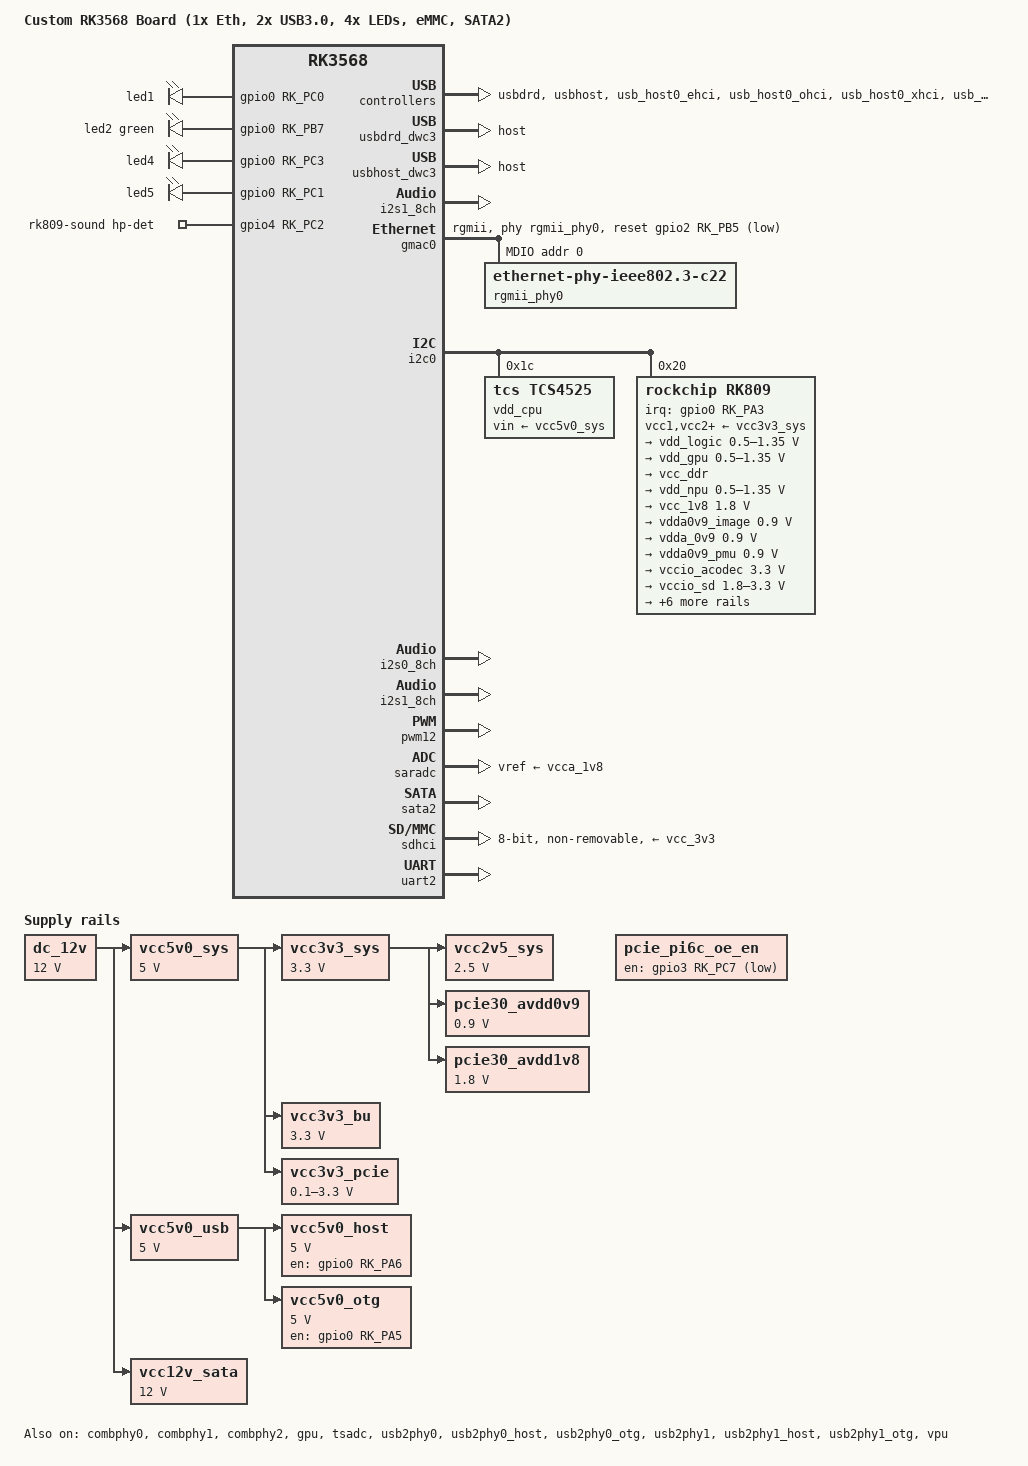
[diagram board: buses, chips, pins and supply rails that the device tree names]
// SPDX-License-Identifier: (GPL-2.0+ OR MIT)
/*
 * Custom RK3568 Board
 * 1x Ethernet (GMAC0 RGMII), 2x USB3.0, 4x LEDs, eMMC, SATA2
 * Features:
 *  - led0(red):Power on constant, turn off after system boot
 *  - led2(green):Start heartbeat blinking after system boot
 *  - Reserve OTG function for flashing
 */

/dts-v1/;

#include <dt-bindings/clock/rk3568-cru.h>
#include <dt-bindings/gpio/gpio.h>
#include <dt-bindings/input/input.h>
#include <dt-bindings/interrupt-controller/arm-gic.h>
#include <dt-bindings/leds/common.h>
#include <dt-bindings/pinctrl/rockchip.h>
#include <dt-bindings/soc/rockchip,vop2.h>

#include "rk3568.dtsi"

/ {
    model = "Custom RK3568 Board (1x Eth, 2x USB3.0, 4x LEDs, eMMC, SATA2)";
    compatible = "rpdzkj,rp-rk3568", "rockchip,rk3568";
    bootargs = "earlycon=uart8250,mmio32,0xfe660000 console=ttyS2,1500000n8";

    aliases {
        ethernet0 = &gmac0;
		mmc0 = &sdhci;
        mmc1 = &sdmmc0;
    };

    chosen: chosen {
        stdout-path = "serial2:1500000n8";
    };

    dc_12v: dc-12v {
        compatible = "regulator-fixed";
        regulator-name = "dc_12v";
        regulator-always-on;
        regulator-boot-on;
        regulator-min-microvolt = <12000000>;
        regulator-max-microvolt = <12000000>;
    };

    vcc3v3_sys: vcc3v3-sys {
        compatible = "regulator-fixed";
        regulator-name = "vcc3v3_sys";
        regulator-always-on;
        regulator-boot-on;
        regulator-min-microvolt = <3300000>;
        regulator-max-microvolt = <3300000>;
        vin-supply = <&vcc5v0_sys>;
    };

    vcc5v0_sys: vcc5v0-sys {
        compatible = "regulator-fixed";
        regulator-name = "vcc5v0_sys";
        regulator-always-on;
        regulator-boot-on;
        regulator-min-microvolt = <5000000>;
        regulator-max-microvolt = <5000000>;
        vin-supply = <&dc_12v>;
    };

    vcc5v0_usb: vcc5v0-usb {
        compatible = "regulator-fixed";
        regulator-name = "vcc5v0_usb";
        regulator-always-on;
        regulator-boot-on;
        regulator-min-microvolt = <5000000>;
        regulator-max-microvolt = <5000000>;
        vin-supply = <&dc_12v>;
    };

    vcc5v0_host: vcc5v0-host {
        compatible = "regulator-fixed";
        regulator-name = "vcc5v0_host";
        regulator-boot-on;
        regulator-always-on;
        regulator-min-microvolt = <5000000>;
        regulator-max-microvolt = <5000000>;
        enable-active-high;
        gpio = <&gpio0 RK_PA6 GPIO_ACTIVE_HIGH>;
        vin-supply = <&vcc5v0_usb>;
        pinctrl-names = "default";
        pinctrl-0 = <&vcc5v0_host_en>;
    };

    vcc5v0_otg: vcc5v0-otg {
        compatible = "regulator-fixed";
        regulator-name = "vcc5v0_otg";
        regulator-min-microvolt = <5000000>;
        regulator-max-microvolt = <5000000>;
        enable-active-high;
        gpio = <&gpio0 RK_PA5 GPIO_ACTIVE_HIGH>;
        vin-supply = <&vcc5v0_usb>;
        pinctrl-names = "default";
        pinctrl-0 = <&vcc5v0_otg_en>;
    };

    vcc12v_sata: vcc12v-sata {
        compatible = "regulator-fixed";
        regulator-name = "vcc12v_sata";
        regulator-always-on;
        regulator-boot-on;
        regulator-min-microvolt = <12000000>;
        regulator-max-microvolt = <12000000>;
        vin-supply = <&dc_12v>;
    };

    /* ---- Additional Power Configs (from dump) ---- */
    vcc2v5_sys: vcc2v5-ddr {
        compatible = "regulator-fixed";
        regulator-name = "vcc2v5-sys";
        regulator-always-on;
        regulator-boot-on;
        regulator-min-microvolt = <2500000>;
        regulator-max-microvolt = <2500000>;
        vin-supply = <&vcc3v3_sys>;
    };

    pcie30_avdd0v9: pcie30-avdd0v9 {
        compatible = "regulator-fixed";
        regulator-name = "pcie30_avdd0v9";
        regulator-always-on;
        regulator-boot-on;
        regulator-min-microvolt = <900000>;
        regulator-max-microvolt = <900000>;
        vin-supply = <&vcc3v3_sys>;
    };

    pcie30_avdd1v8: pcie30-avdd1v8 {
        compatible = "regulator-fixed";
        regulator-name = "pcie30_avdd1v8";
        regulator-always-on;
        regulator-boot-on;
        regulator-min-microvolt = <1800000>;
        regulator-max-microvolt = <1800000>;
        vin-supply = <&vcc3v3_sys>;
    };

    vcc3v3_bu: vcc3v3-bu {
        compatible = "regulator-fixed";
        regulator-name = "vcc3v3_bu";
        regulator-always-on;
        regulator-boot-on;
        regulator-min-microvolt = <3300000>;
        regulator-max-microvolt = <3300000>;
        vin-supply = <&vcc5v0_sys>;
    };

    vcc3v3_pcie: gpio-regulator {
        compatible = "regulator-gpio";
        regulator-name = "vcc3v3_pcie";
        regulator-min-microvolt = <100000>;
        regulator-max-microvolt = <3300000>;
        gpios = <&gpio0 RK_PC4 GPIO_ACTIVE_HIGH>;
        gpios-states = <1>;
        states = <100000 0 3300000 1>;
        vin-supply = <&vcc5v0_sys>;
    };

    pcie_pi6c_oe_en: pcie-pi6c-oe-regulator {
        compatible = "regulator-fixed";
        gpio = <&gpio3 RK_PC7 GPIO_ACTIVE_HIGH>;
        pinctrl-names = "default";
        pinctrl-0 = <&pcie_pi6c_oe_en_pin>;
        regulator-name = "pcie_pi6c_oe_en";
        regulator-always-on;
    };



    /* ---- LEDs Config ---- */
    leds {
        status = "okay";
        compatible = "gpio-leds";

        led1 {
            gpios = <&gpio0 RK_PC0 GPIO_ACTIVE_HIGH>;
            default-state = "on";
            pinctrl-names = "default";
            pinctrl-0 = <&led1_pin>;
        };

        led2 {
            function = LED_FUNCTION_HEARTBEAT;
            color = <LED_COLOR_ID_GREEN>;
            linux,default-trigger = "heartbeat";  // Activate after system boot
            gpios = <&gpio0 RK_PB7 GPIO_ACTIVE_HIGH>;
            default-state = "off";
            pinctrl-names = "default";
            pinctrl-0 = <&led2_pin>;
        };

        led4 {
            gpios = <&gpio0 RK_PC3 GPIO_ACTIVE_HIGH>;
            default-state = "off";
            pinctrl-names = "default";
            pinctrl-0 = <&led4_pin>;
        };

        led5 {
            gpios = <&gpio0 RK_PC1 GPIO_ACTIVE_HIGH>;
            default-state = "off";
            pinctrl-names = "default";
            pinctrl-0 = <&led5_pin>;
        };
    };

    rk809-sound {
        compatible = "simple-audio-card";
        status = "okay";
        simple-audio-card,format = "i2s";
        simple-audio-card,name = "rockchip,rk809-codec";
        simple-audio-card,mclk-fs = <256>;
        simple-audio-card,hp-det-gpio = <&gpio4 RK_PC2 GPIO_ACTIVE_HIGH>;
        simple-audio-card,widgets = "Headphones", "Headphones Jack";

        simple-audio-card,cpu {
            sound-dai = <&i2s1_8ch>;
        };
        simple-audio-card,codec {
            sound-dai = <&rk809_codec>;
        };
    };

    /* ---- DWC3 Config ---- */
    usbdrd {
        status = "okay";
    };

    usbdrd_dwc3 {
        dr_mode = "host";
        status = "okay";
    };

    usbhost {
        status = "okay";
    };

    usbhost_dwc3 {
        dr_mode = "host";
        status = "okay";
    };

    /* ---- Debug and System Config ---- */
    fiq_debugger {
        compatible = "rockchip,fiq-debugger";
        rockchip,serial-id = <2>;
        rockchip,wake-irq = <0>;
        rockchip,irq-mode-enable = <1>;
        rockchip,baudrate = <115200>;
        interrupts = <0 252 8>;
        pinctrl-names = "default";
        pinctrl-0 = <&uart2m0_xfer>;
        status = "okay";
    };

    debug {
        compatible = "rockchip,debug";
        reg = <0x0 0xfd904000 0x0 0x1000>,
              <0x0 0xfd905000 0x0 0x1000>,
              <0x0 0xfd906000 0x0 0x1000>,
              <0x0 0xfd907000 0x0 0x1000>;
    };

    cspmu {
        compatible = "rockchip,cspmu";
        reg = <0x0 0xfd90c000 0x0 0x1000>,
              <0x0 0xfd90d000 0x0 0x1000>,
              <0x0 0xfd90e000 0x0 0x1000>,
              <0x0 0xfd90f000 0x0 0x1000>;
    };

    /* ---- Audio Config ---- */
    i2s1_8ch {
        pinctrl-names = "default";
        pinctrl-0 = <&i2s1m0_sclktx
                     &i2s1m0_lrcktx
                     &i2s1m0_sdi0
                     &i2s1m0_sdo0>;
        rockchip,trcm-sync-tx-only;
        status = "okay";
    };

    /* ---- Backlight Config ---- */
    backlight {
        pwms = <&pwm12 0 25000 0>;
        status = "okay";
    };

    /* ---- Special Configs ---- */
    test_power {
        status = "okay";
    };

    rp_power {
        compatible = "rp_power";
        rp_not_deep_sleep = <1>;
        status = "okay";
    };

    rp_gpio {
        status = "okay";
        compatible = "rp_gpio";

        otg_mode {
            gpio_num = <&gpio3 RK_PC1 GPIO_ACTIVE_HIGH>;
            gpio_function = <4>;
        };

        usb_pwr {
            gpio_num = <&gpio0 RK_PA6 GPIO_ACTIVE_HIGH>;
            gpio_function = <4>;
        };
    };
};

/* ---- Combo PHY Config ---- */
&combphy0 { status = "okay"; };
&combphy1 { status = "okay"; };
&combphy2 { status = "okay"; };

&cpu0 {
    cpu-supply = <&vdd_cpu>;
};

/* ---- GMAC0 Config ---- */
&gmac0 {
    rockchip,grf = <&grf>;
    status = "okay";
    phy-mode = "rgmii";
    clock_in_out = "output";
    
    /* Clock configuration */
    clocks = <&cru SCLK_GMAC0>, <&cru SCLK_GMAC0_RX_TX>, <&cru SCLK_GMAC0_RX_TX>,
             <&cru CLK_MAC0_REFOUT>, <&cru ACLK_GMAC0>, <&cru PCLK_GMAC0>,
             <&cru SCLK_GMAC0_RX_TX>, <&cru CLK_GMAC0_PTP_REF>, <&cru PCLK_GMAC0>;
    clock-names = "stmmaceth", "mac_clk_rx", "mac_clk_tx", "clk_mac_refout", 
                  "aclk_mac", "pclk_mac", "clk_mac_speed", "ptp_ref", "pclk_xpcs";
    
    /* Reset configuration */
    resets = <&cru SRST_A_GMAC0>;
    reset-names = "stmmaceth";
    
    /* Assigned clocks */
    assigned-clocks = <&cru SCLK_GMAC0_RX_TX>, <&cru SCLK_GMAC0>;
    assigned-clock-parents = <&cru SCLK_GMAC0_RGMII_SPEED>, <&cru CLK_MAC0_2TOP>;
    assigned-clock-rates = <0>, <125000000>;
    
    /* RGMII timing delays */
    tx_delay = <0x43>;
    rx_delay = <0x33>;
    
    /* SNPS specific configuration */
    snps,mixed-burst;
    snps,tso;
    snps,reset-gpio = <&gpio2 RK_PB5 GPIO_ACTIVE_LOW>;
    snps,reset-active-low;
    snps,reset-delays-us = <0 20000 100000>;
    snps,axi-config = <&gmac0_stmmac_axi_config>;
    snps,mtl-rx-config = <&gmac0_rx_queues_config>;
    snps,mtl-tx-config = <&gmac0_tx_queues_config>;
    
    /* Pinctrl configuration */
    pinctrl-names = "default";
    pinctrl-0 = <&gmac0_miim>, <&gmac0_tx_bus2>, <&gmac0_rx_bus2>,
                <&gmac0_rgmii_clk>, <&gmac0_rgmii_bus>;
    
    /* PHY handle */
    phy-handle = <&rgmii_phy0>;

    mdio {
        compatible = "snps,dwmac-mdio";
        #address-cells = <1>;
        #size-cells = <0>;

        rgmii_phy0: phy@0 {
            compatible = "ethernet-phy-ieee802.3-c22";
            reg = <0x0>;
            clocks = <&cru CLK_MAC0_OUT>;
        };
    };

    gmac0_stmmac_axi_config: stmmac-axi-config {
        snps,wr_osr_lmt = <4>;
        snps,rd_osr_lmt = <8>;
        snps,blen = <0 0 0 0 16 8 4>;
    };

    gmac0_rx_queues_config: rx-queues-config {
        snps,rx-queues-to-use = <1>;
        queue0 { };
    };

    gmac0_tx_queues_config: tx-queues-config {
        snps,tx-queues-to-use = <1>;
        queue0 { };
    };
};

&gmac1 { status = "disabled"; };

/* ---- GPU Config ---- */
&gpu {
    mali-supply = <&vdd_gpu>;
    status = "okay";
};

/* ---- I2C0 Config ---- */
&i2c0 {
    status = "okay";
    pinctrl-names = "default";
    pinctrl-0 = <&i2c0_xfer>;



    /* CPU core regulator */
    vdd_cpu: regulator@1c {
        compatible = "tcs,tcs4525";
        reg = <0x1c>;
        fcs,suspend-voltage-selector = <1>;
        regulator-name = "vdd_cpu";
        regulator-always-on;
        regulator-boot-on;
        regulator-min-microvolt = <800000>;
        regulator-max-microvolt = <1150000>;
        regulator-ramp-delay = <2300>;
        vin-supply = <&vcc5v0_sys>;

        regulator-state-mem {
            regulator-off-in-suspend;
        };
    };

    rk809: pmic@20 {
        compatible = "rockchip,rk809";
        reg = <0x20>;
        interrupt-parent = <&gpio0>;
        interrupts = <RK_PA3 IRQ_TYPE_LEVEL_LOW>;
        pinctrl-names = "default", "pmic-sleep", "pmic-power-off", "pmic-reset";
        pinctrl-0 = <&pmic_int_l>;
        pinctrl-1 = <&rk817_slppin_slp>;
        pinctrl-2 = <&rk817_slppin_pwrdn>;
        pinctrl-3 = <&rk817_slppin_rst>;
        rockchip,system-power-controller;
        wakeup-source;
        #clock-cells = <1>;
        clock-output-names = "rk808-clkout1", "rk808-clkout2";
        pmic-reset-func = <0>;
        not-save-power-en = <1>;
        vcc1-supply = <&vcc3v3_sys>;
        vcc2-supply = <&vcc3v3_sys>;
        vcc3-supply = <&vcc3v3_sys>;
        vcc4-supply = <&vcc3v3_sys>;
        vcc5-supply = <&vcc3v3_sys>;
        vcc6-supply = <&vcc3v3_sys>;
        vcc7-supply = <&vcc3v3_sys>;
        vcc8-supply = <&vcc3v3_sys>;
        vcc9-supply = <&vcc3v3_sys>;

        pwrkey {
            status = "okay";
        };

        pinctrl_rk8xx {
            gpio-controller;
            #gpio-cells = <2>;

            rk817_slppin_null: rk817_slppin_null {
                pins = "gpio_slp";
                function = "pin_fun0";
            };

            rk817_slppin_slp: rk817_slppin_slp {
                pins = "gpio_slp";
                function = "pin_fun1";
            };

            rk817_slppin_pwrdn: rk817_slppin_pwrdn {
                pins = "gpio_slp";
                function = "pin_fun2";
            };

            rk817_slppin_rst: rk817_slppin_rst {
                pins = "gpio_slp";
                function = "pin_fun3";
            };
        };

        regulators {
            vdd_logic: DCDC_REG1 {
                regulator-name = "vdd_logic";
                regulator-always-on;
                regulator-boot-on;
                regulator-min-microvolt = <500000>;
                regulator-max-microvolt = <1350000>;
                regulator-init-microvolt = <900000>;
                regulator-ramp-delay = <6001>;
                regulator-initial-mode = <2>;
                regulator-state-mem {
                    regulator-off-in-suspend;
                };
            };

            vdd_gpu: DCDC_REG2 {
                regulator-name = "vdd_gpu";
                regulator-always-on;
                regulator-boot-on;
                regulator-min-microvolt = <500000>;
                regulator-max-microvolt = <1350000>;
                regulator-init-microvolt = <900000>;
                regulator-ramp-delay = <6001>;
                regulator-initial-mode = <2>;
                regulator-state-mem {
                    regulator-off-in-suspend;
                };
            };

            vcc_ddr: DCDC_REG3 {
                regulator-name = "vcc_ddr";
                regulator-always-on;
                regulator-boot-on;
                regulator-initial-mode = <2>;
                regulator-state-mem {
                    regulator-on-in-suspend;
                };
            };

            vdd_npu: DCDC_REG4 {
                regulator-name = "vdd_npu";
                regulator-always-on;
                regulator-boot-on;
                regulator-min-microvolt = <500000>;
                regulator-max-microvolt = <1350000>;
                regulator-init-microvolt = <900000>;
                regulator-ramp-delay = <6001>;
                regulator-initial-mode = <2>;
                regulator-state-mem {
                    regulator-off-in-suspend;
                };
            };
            
            vcc_1v8: DCDC_REG5 {
                regulator-name = "vcc_1v8";
                regulator-always-on;
                regulator-boot-on;
                regulator-min-microvolt = <1800000>;
                regulator-max-microvolt = <1800000>;
                regulator-state-mem {
                    regulator-off-in-suspend;
                };
            };

            vdda0v9_image: LDO_REG1 {
                regulator-name = "vdda0v9_image";
                regulator-always-on;
                regulator-boot-on;
                regulator-min-microvolt = <900000>;
                regulator-max-microvolt = <900000>;
                regulator-state-mem {
                    regulator-off-in-suspend;
                };
            };

            vdda_0v9: LDO_REG2 {
                regulator-name = "vdda_0v9";
                regulator-always-on;
                regulator-boot-on;
                regulator-min-microvolt = <900000>;
                regulator-max-microvolt = <900000>;
                regulator-state-mem {
                    regulator-off-in-suspend;
                };
            };

            vdda0v9_pmu: LDO_REG3 {
                regulator-name = "vdda0v9_pmu";
                regulator-always-on;
                regulator-boot-on;
                regulator-min-microvolt = <900000>;
                regulator-max-microvolt = <900000>;
                regulator-state-mem {
                    regulator-on-in-suspend;
                    regulator-suspend-microvolt = <900000>;
                };
            };

            vccio_acodec: LDO_REG4 {
                regulator-name = "vccio_acodec";
                regulator-always-on;
                regulator-boot-on;
                regulator-min-microvolt = <3300000>;
                regulator-max-microvolt = <3300000>;
                regulator-state-mem {
                    regulator-off-in-suspend;
                };
            };

            vccio_sd: LDO_REG5 {
                regulator-name = "vccio_sd";
                regulator-always-on;
                regulator-boot-on;
                regulator-min-microvolt = <1800000>;
                regulator-max-microvolt = <3300000>;
                regulator-state-mem {
                    regulator-off-in-suspend;
                };
            };

            vcc3v3_pmu: LDO_REG6 {
                regulator-name = "vcc3v3_pmu";
                regulator-always-on;
                regulator-boot-on;
                regulator-min-microvolt = <3300000>;
                regulator-max-microvolt = <3300000>;
                regulator-state-mem {
                    regulator-on-in-suspend;
                    regulator-suspend-microvolt = <3300000>;
                };
            };

            vcca_1v8: LDO_REG7 {
                regulator-name = "vcca_1v8";
                regulator-always-on;
                regulator-boot-on;
                regulator-min-microvolt = <1800000>;
                regulator-max-microvolt = <1800000>;
                regulator-state-mem {
                    regulator-off-in-suspend;
                };
            };

            vcca1v8_pmu: LDO_REG8 {
                regulator-name = "vcca1v8_pmu";
                regulator-always-on;
                regulator-boot-on;
                regulator-min-microvolt = <1800000>;
                regulator-max-microvolt = <1800000>;
                regulator-state-mem {
                    regulator-on-in-suspend;
                    regulator-suspend-microvolt = <1800000>;
                };
            };

            vcca1v8_image: LDO_REG9 {
                regulator-name = "vcca1v8_image";
                regulator-always-on;
                regulator-boot-on;
                regulator-min-microvolt = <1800000>;
                regulator-max-microvolt = <1800000>;
                regulator-state-mem {
                    regulator-off-in-suspend;
                };
            };
            
            vcc_3v3: SWITCH_REG1 {
                regulator-name = "vcc_3v3";
                regulator-always-on;
                regulator-boot-on;
                regulator-state-mem {
                    regulator-off-in-suspend;
                };
            };

            vcc3v3_sd: SWITCH_REG2 {
                regulator-name = "vcc3v3_sd";
                regulator-always-on;
                regulator-boot-on;
                regulator-state-mem {
                    regulator-off-in-suspend;
                };
            };
        };

        rk809_codec: codec {
            #sound-dai-cells = <0>;
            compatible = "rockchip,rk809-codec", "rockchip,rk817-codec";
            clocks = <&cru I2S1_MCLKOUT_TX>;
            clock-names = "mclk";
            assigned-clocks = <&cru I2S1_MCLKOUT_TX>;
            assigned-clock-parents = <&cru CLK_I2S1_8CH_TX>;
            pinctrl-names = "default";
            pinctrl-0 = <&i2s1m0_mclk>;
            hp-volume = <20>;
            spk-volume = <3>;
            mic-in-differential;
            status = "disabled";
        };


    };
};

&i2c1 { status = "disabled"; };

&i2s0_8ch {
    status = "okay";
};

&i2s1_8ch {
    pinctrl-names = "default";
    pinctrl-0 = <&i2s1m0_sclktx
                 &i2s1m0_lrcktx
                 &i2s1m0_sdi0
                 &i2s1m0_sdo0>;
    rockchip,trcm-sync-tx-only;
    status = "okay";
};

&mdio0 { status = "disabled"; };
&mdio1 { status = "disabled"; };

/* ----  Config ---- */
&pinctrl {
    leds {
        led1_pin: led1_pin {
            rockchip,pins = <0 RK_PC0 RK_FUNC_GPIO &pcfg_pull_none>;
        };
        led2_pin: led2_pin {
            rockchip,pins = <0 RK_PB7 RK_FUNC_GPIO &pcfg_pull_none>;
        };
        led4_pin: led4_pin {
            rockchip,pins = <0 RK_PC3 RK_FUNC_GPIO &pcfg_pull_none>;
        };
        led5_pin: led5_pin {
            rockchip,pins = <0 RK_PC1 RK_FUNC_GPIO &pcfg_pull_none>;
        };
    };

    pmic {
        pmic_int_l: pmic-int-l {
            rockchip,pins = <0 RK_PA3 RK_FUNC_GPIO &pcfg_pull_up>;
        };
    };



    usb {
        vcc5v0_host_en: vcc5v0-host-en {
            rockchip,pins = <0 RK_PA6 RK_FUNC_GPIO &pcfg_pull_none>;
        };
        vcc5v0_otg_en: vcc5v0-otg-en {
            rockchip,pins = <0 RK_PA5 RK_FUNC_GPIO &pcfg_pull_none>;
        };
    };

    pcie {
        pcie_pi6c_oe_en_pin: pcie-pi6c-oe-en {
            rockchip,pins = <3 RK_PC7 RK_FUNC_GPIO &pcfg_pull_none>;
        };
    };
};

&pmu_io_domains {
    pmuio1-supply = <&vcc3v3_pmu>;
    pmuio2-supply = <&vcc3v3_pmu>;
    vccio1-supply = <&vccio_acodec>;
    vccio2-supply = <&vcc_1v8>;
    vccio3-supply = <&vccio_sd>;
    vccio4-supply = <&vcc_1v8>;
    vccio5-supply = <&vcc_3v3>;
    vccio6-supply = <&vcc_1v8>;
    vccio7-supply = <&vcc_3v3>;
    status = "okay";
};

&pwm12 {
    pinctrl-0 = <&pwm12m1_pins>;
    pinctrl-names = "default";
    status = "okay";
};

&saradc {
    vref-supply = <&vcca_1v8>;
    status = "okay";
};

/* ---- SATA2 Config ---- */
&sata2 {
    vcc12v-supply = <&vcc12v_sata>;
    status = "okay";
};

&sdhci {
    status = "okay";
    bus-width = <8>;
    max-frequency = <200000000>;
    non-removable;
    supports-emmc;
    mmc-hs200-1_8v;
    vmmc-supply = <&vcc_3v3>;
    vqmmc-supply = <&vcc_1v8>;
    pinctrl-names = "default";
    pinctrl-0 = <&emmc_bus8 &emmc_clk &emmc_cmd &emmc_datastrobe>;
};

&sdmmc0 { status = "disabled"; };

&tsadc {
    rockchip,hw-tshut-mode = <1>;
    rockchip,hw-tshut-polarity = <0>;
    status = "okay";
};

&uart2 {
    status = "okay";
};

/* ---- USB Config ---- */
&usb_host0_ehci { status = "okay"; };
&usb_host0_ohci { status = "okay"; };
&usb_host0_xhci { status = "okay"; };
&usb_host1_ehci { status = "okay"; };
&usb_host1_ohci { status = "okay"; };
&usb_host1_xhci { status = "okay"; };

&usb2phy0 { status = "okay"; };
&usb2phy0_host { phy-supply = <&vcc5v0_host>; status = "okay"; };
&usb2phy0_otg  { phy-supply = <&vcc5v0_otg>; status = "okay"; };
&usb2phy1 { status = "okay"; };
&usb2phy1_host { phy-supply = <&vcc5v0_host>; status = "okay"; };
&usb2phy1_otg  { phy-supply = <&vcc5v0_host>; status = "okay"; };



/* ----  Config ---- */
&vop { status = "disabled"; };
&vop_mmu { status = "disabled"; };

&vpu {
    status = "okay";
};
